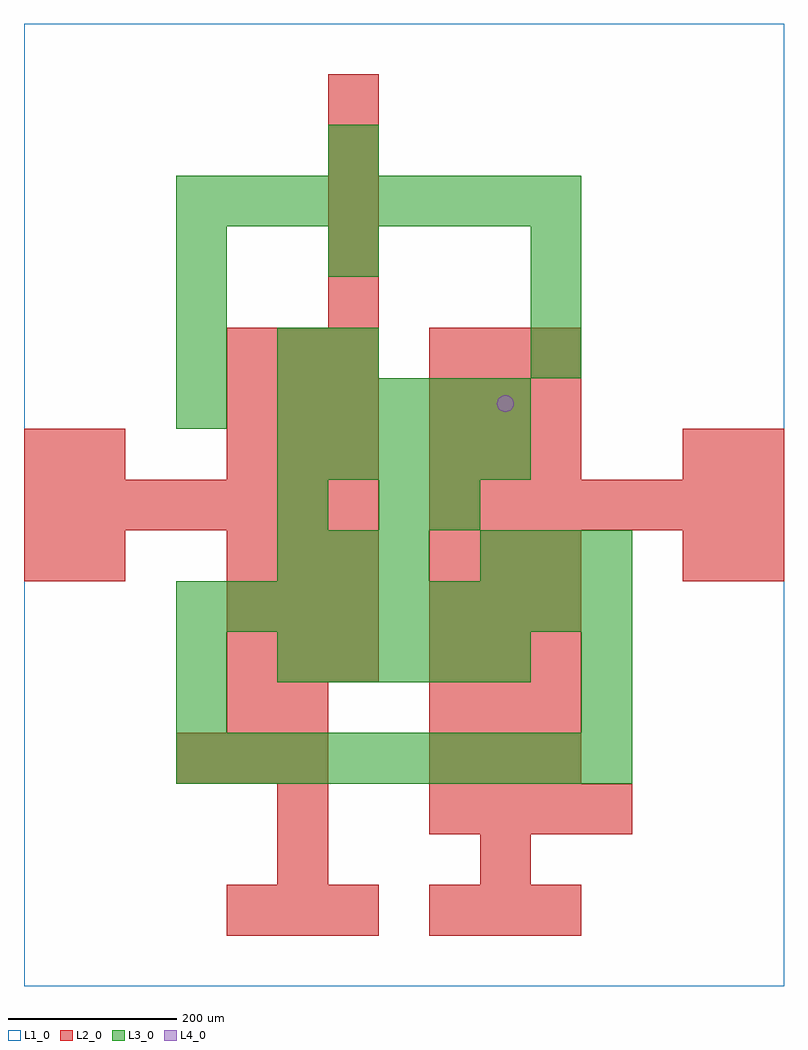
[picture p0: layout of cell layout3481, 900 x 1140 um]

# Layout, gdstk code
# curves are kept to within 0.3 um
import gdstk
lib = gdstk.Library(unit=1e-6, precision=1e-09)
def R(c, l, rs):  # rectangles x0, y0, x1, y1
    for r in rs: c.add(gdstk.rectangle(r[:2], r[2:], *l))
def A(c, l, x, y, w, h, nx, ny, dx, dy):  # array of equal rectangles
    R(c, l, [(x+i*dx, y+j*dy, x+i*dx+w, y+j*dy+h) for i in range(nx) for j in range(ny)])
def P(c, l, *ps):  # polygons
    for p in ps: c.add(gdstk.Polygon(p, *l))
L1_0 = (1, 0)
L2_0 = (2, 0)
L3_0 = (3, 0)
L4_0 = (4, 0)

layout3481 = lib.new_cell('layout3481')
R(layout3481, L1_0, [(0,0,900,1140)])
A(layout3481, L2_0, 240, 60, 60, 60, 3, 2, 60, 300)
A(layout3481, L2_0, 480, 60, 60, 60, 3, 2, 60, 180)
A(layout3481, L2_0, 480, 180, 60, 60, 4, 1, 60, 0)
A(layout3481, L2_0, 180, 240, 60, 60, 3, 1, 60, 0)
A(layout3481, L2_0, 480, 300, 60, 60, 3, 4, 60, 60)
A(layout3481, L2_0, 240, 420, 60, 60, 3, 2, 60, 60)
A(layout3481, L2_0, 0, 540, 60, 60, 7, 1, 60, 0)
A(layout3481, L2_0, 480, 540, 60, 60, 7, 1, 60, 0)
A(layout3481, L2_0, 240, 600, 60, 60, 3, 3, 60, 60)
A(layout3481, L2_0, 480, 600, 60, 60, 3, 3, 60, 60)
A(layout3481, L2_0, 360, 780, 60, 60, 1, 5, 0, 60)
R(layout3481, L2_0, [(300,120,360,180), (540,120,600,180), (300,180,360,240), (240,300,300,360), (300,300,360,360), (0,480,60,540), (60,480,120,540), (780,480,840,540), (840,480,900,540), (0,600,60,660), (60,600,120,660), (780,600,840,660), (840,600,900,660)])
A(layout3481, L3_0, 180, 240, 60, 60, 9, 2, 60, 180)
A(layout3481, L3_0, 300, 360, 60, 60, 5, 2, 60, 240)
A(layout3481, L3_0, 300, 480, 60, 60, 3, 1, 60, 0)
A(layout3481, L3_0, 540, 480, 60, 60, 3, 1, 60, 0)
A(layout3481, L3_0, 180, 660, 60, 60, 1, 4, 0, 60)
A(layout3481, L3_0, 300, 660, 60, 60, 5, 1, 60, 0)
A(layout3481, L3_0, 360, 720, 60, 60, 1, 3, 0, 120)
A(layout3481, L3_0, 600, 720, 60, 60, 1, 3, 0, 60)
A(layout3481, L3_0, 180, 900, 60, 60, 8, 1, 60, 0)
R(layout3481, L3_0, [(180,300,240,360), (660,300,720,360), (180,360,240,420), (660,360,720,420), (300,540,360,600), (420,540,480,600), (480,540,540,600), (300,720,360,780)])
P(layout3481, L4_0, [(580,690),(579.239,693.827),(577.071,697.071),(573.827,699.239),(570,700),(566.173,699.239),(562.929,697.071),(560.761,693.827),(560,690),(560.761,686.173),(562.929,682.929),(566.173,680.761),(570,680),(573.827,680.761),(577.071,682.929),(579.239,686.173)])

lib.write_gds('layout3481.gds')
